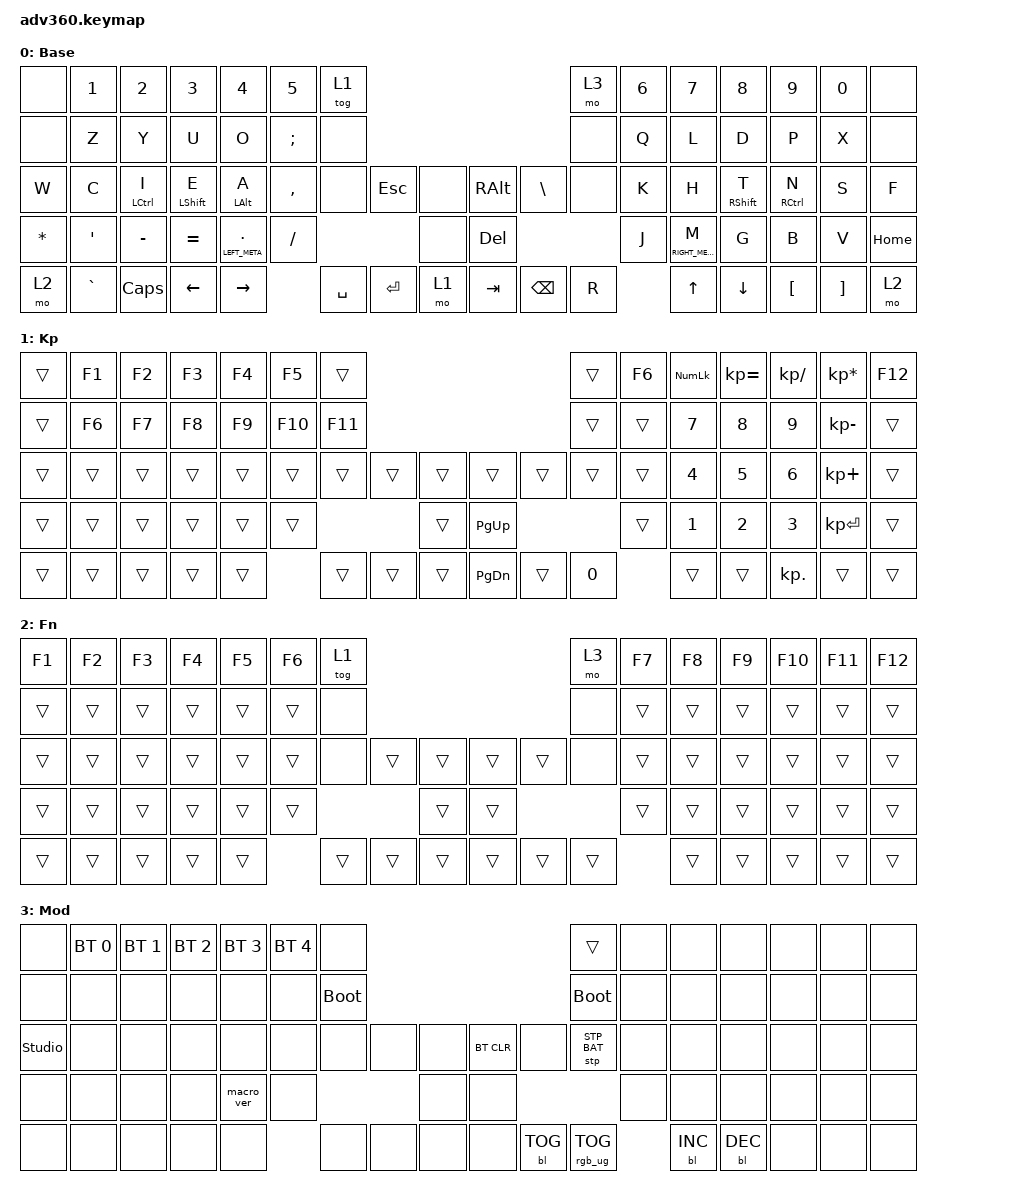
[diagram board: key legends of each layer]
#include <dt-bindings/zmk/stp.h>
#include <behaviors.dtsi>
#include <dt-bindings/zmk/backlight.h>
#include <dt-bindings/zmk/bt.h>
#include <dt-bindings/zmk/keys.h>
#include <dt-bindings/zmk/rgb.h>

/ {
    behaviors {
        #include "macros.dtsi"
      #include "version.dtsi"

        hm: homerow_mods {
            compatible = "zmk,behavior-hold-tap";
            label = "HOMEROW_MODS";
            #binding-cells = <2>;
            tapping-term-ms = <200>;
            quick_tap_ms = <175>;
            flavor = "tap-preferred";
            bindings = <&kp>, <&kp>;
        };
    };

    keymap {
        compatible = "zmk,keymap";

        default_layer {
            display-name = "Base";
            bindings = <
&none         &kp N1     &kp N2       &kp N3            &kp N4                &kp N5         &tog 1                                                          &mo 3  &kp N6  &kp N7            &kp N8             &kp N9       &kp N0    &none
&none         &kp Z      &kp Y        &kp U             &kp O                 &kp SEMICOLON  &none                                                           &none  &kp Q   &kp L             &kp D              &kp P        &kp X     &none
&kp W         &kp C      &hm LCTRL I  &hm LEFT_SHIFT E  &hm LEFT_ALT A        &kp COMMA      &none      &kp ESCAPE  &none      &kp RIGHT_ALT  &kp BACKSLASH  &none  &kp K   &kp H             &hm RIGHT_SHIFT T  &hm RCTRL N  &kp S     &kp F
&kp ASTERISK  &kp SQT    &kp MINUS    &kp EQUAL         &hm LEFT_META PERIOD  &kp SLASH                             &none      &kp DELETE                           &kp J   &hm RIGHT_META M  &kp G              &kp B        &kp V     &kp HOME
&mo 2         &kp GRAVE  &kp CAPS     &kp LEFT          &kp RIGHT                            &kp SPACE  &kp ENTER   &mo 1      &kp TAB        &kp BACKSPACE  &kp R          &kp UP            &kp DOWN           &kp LBKT     &kp RBKT  &mo 2
            >;
        };

        keypad {
            display-name = "Kp";
            bindings = <
&trans  &kp F1  &kp F2  &kp F3  &kp F4  &kp F5   &trans                                              &trans  &kp F6  &kp KP_NUM    &kp KP_EQUAL  &kp KP_DIVIDE  &kp KP_MULTIPLY  &kp F12
&trans  &kp F6  &kp F7  &kp F8  &kp F9  &kp F10  &kp F11                                             &trans  &trans  &kp NUMBER_7  &kp N8        &kp N9         &kp KP_MINUS     &trans
&trans  &trans  &trans  &trans  &trans  &trans   &trans   &trans  &trans      &trans         &trans  &trans  &trans  &kp NUMBER_4  &kp N5        &kp NUMBER_6   &kp KP_PLUS      &trans
&trans  &trans  &trans  &trans  &trans  &trans                    &trans      &kp PAGE_UP                    &trans  &kp NUMBER_1  &kp NUMBER_2  &kp NUMBER_3   &kp KP_ENTER     &trans
&trans  &trans  &trans  &trans  &trans           &trans   &trans  &trans      &kp PAGE_DOWN  &trans  &kp N0          &trans        &trans        &kp KP_DOT     &trans           &trans
            >;
        };

        fn {
            display-name = "Fn";
            bindings = <
&kp F1  &kp F2  &kp F3  &kp F4  &kp F5  &kp F6  &tog 1                                      &mo 3   &kp F7  &kp F8  &kp F9  &kp F10  &kp F11  &kp F12
&trans  &trans  &trans  &trans  &trans  &trans  &none                                       &none   &trans  &trans  &trans  &trans   &trans   &trans
&trans  &trans  &trans  &trans  &trans  &trans  &none   &trans  &trans      &trans  &trans  &none   &trans  &trans  &trans  &trans   &trans   &trans
&trans  &trans  &trans  &trans  &trans  &trans                  &trans      &trans                  &trans  &trans  &trans  &trans   &trans   &trans
&trans  &trans  &trans  &trans  &trans          &trans  &trans  &trans      &trans  &trans  &trans          &trans  &trans  &trans   &trans   &trans
            >;
        };

        mod {
            display-name = "Mod";
            bindings = <
&none           &bt BT_SEL 0  &bt BT_SEL 1  &bt BT_SEL 2  &bt BT_SEL 3  &bt BT_SEL 4  &none                                                  &trans           &none  &none       &none       &none  &none  &none
&none           &none         &none         &none         &none         &none         &bootloader                                            &bootloader      &none  &none       &none       &none  &none  &none
&studio_unlock  &none         &none         &none         &none         &none         &none        &none  &none      &bt BT_CLR  &none       &stp STP_BAT     &none  &none       &none       &none  &none  &none
&none           &none         &none         &none         &macro_ver    &none                             &none      &none                                    &none  &none       &none       &none  &none  &none
&none           &none         &none         &none         &none                       &none        &none  &none      &none       &bl BL_TOG  &rgb_ug RGB_TOG         &bl BL_INC  &bl BL_DEC  &none  &none  &none
            >;
        };

        extra1 {
            display-name = "Red";
            status = "reserved";
        };

        extra2 {
            display-name = "Purple";
            status = "reserved";
        };

        extra3 {
            display-name = "Cyan";
            status = "reserved";
        };

        extra4 {
            display-name = "Yellow";
            status = "reserved";
        };
    };
};
